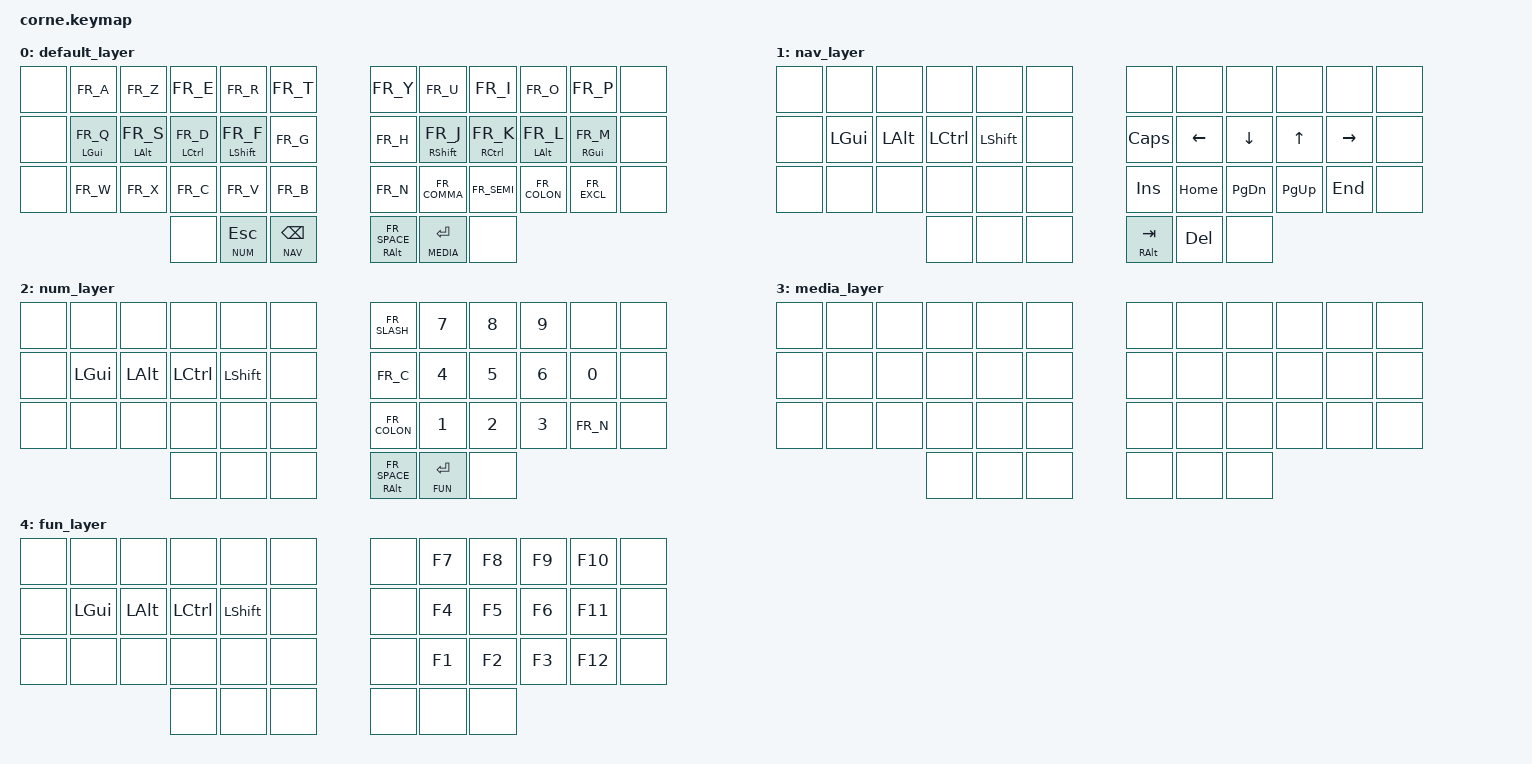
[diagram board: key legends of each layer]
#include <behaviors.dtsi>
#include <dt-bindings/zmk/keys.h>
#include <dt-bindings/zmk/bt.h>
#include <locale/keys_fr.h>

#include "zmk-helpers/helper.h"
#include "zmk-helpers/key-labels/42.h"

#define LEFT_HAND_KEYS  LT0 LT1 LT2 LT3 LT4 LM0 LM1 LM2 LM3 LM4 LB0 LB1 LB2 LB3 LB4
#define RIGHT_HAND_KEYS RT0 RT1 RT2 RT3 RT4 RM0 RM1 RM2 RM3 RM4 RB0 RB1 RB2 RB3 RB4
#define THUMBS_KEYS     LH2 LH1 LH0 RH0 RH1 RH2  
#define NAV   1
#define NUM   2
#define MEDIA 3
#define FUN   4
#define MOUSE 5

// TODO:
// Ergo-L diagram layout
// Fun layer: combo?
// Mouse layer: pinky?
// Copy/paste shortcuts

/ {
    behaviors {
        hml: home_row_mod_left {
            compatible = "zmk,behavior-hold-tap";
            #binding-cells = <2>;
            flavor = "balanced";
            require-prior-idle-ms = <150>;
            tapping-term-ms = <280>;
            quick-tap-ms = <175>;
            bindings = <&kp>, <&kp>;
            hold-trigger-key-positions = <RIGHT_HAND_KEYS THUMBS_KEYS>;
            hold-trigger-on-release;
        };
        hmr: home_row_mod_right {
            compatible = "zmk,behavior-hold-tap";
            #binding-cells = <2>;
            flavor = "balanced";
            require-prior-idle-ms = <150>;
            tapping-term-ms = <280>;
            quick-tap-ms = <175>;
            bindings = <&kp>, <&kp>;
            hold-trigger-key-positions = <LEFT_HAND_KEYS THUMBS_KEYS>;
            hold-trigger-on-release;
        };
    };
};

/ {
	keymap {
		compatible = "zmk,keymap";
		
		default_layer {
			bindings = <
    &none            &kp FR_A         &kp FR_Z         &kp FR_E         &kp FR_R         &kp FR_T         &kp FR_Y          &kp FR_U         &kp FR_I         &kp FR_O         &kp FR_P         &none
	&none            &hml LGUI FR_Q   &hml LALT FR_S   &hml LCTRL FR_D  &hml LSHIFT FR_F &kp FR_G         &kp FR_H          &hmr RSHIFT FR_J &hmr RCTRL FR_K  &hmr LALT FR_L   &hmr RGUI FR_M   &none
    &none            &kp FR_W         &kp FR_X         &kp FR_C         &kp FR_V         &kp FR_B         &kp FR_N          &kp FR_COMMA     &kp FR_SEMI      &kp FR_COLON     &kp FR_EXCL      &none
			                                           &none            &lt NUM ESC      &lt NAV BSPC     &mt RALT FR_SPACE &lt MEDIA ENTER  &none
			>;
		};
		nav_layer {
			bindings = <
	&none            &none            &none            &none            &none            &none            &none             &none            &none            &none            &none            &none
    &none            &kp LGUI         &kp LALT         &kp LCTRL        &kp LSHIFT       &none            &kp CAPSLOCK      &kp LEFT         &kp DOWN         &kp UP           &kp RIGHT        &none 
    &none            &none            &none            &none            &none            &none            &kp INSERT        &kp HOME         &kp PAGE_DOWN    &kp PAGE_UP      &kp END          &none 
			                                           &none            &none            &none            &mt RALT TAB      &kp DEL          &none
			>;
		};
		num_layer {
			bindings = <
    &none            &none            &none            &none            &none            &none            &kp FR_SLASH      &kp N7           &kp N8           &kp N9           &none            &none
 	&none            &kp LGUI         &kp LALT         &kp LCTRL        &kp LSHIFT       &none            &kp FR_C          &kp N4           &kp N5           &kp N6           &kp N0           &none 
    &none            &none            &none            &none            &none            &none            &kp FR_COLON      &kp N1           &kp N2           &kp N3           &kp FR_N         &none 
	                                                   &none            &none            &none            &mt RALT FR_SPACE &lt FUN ENTER    &none
			>;
		};
		media_layer {
			bindings = <
	&none            &none            &none            &none            &none            &none            &none             &none            &none            &none            &none            &none
	&none            &none            &none            &none            &none            &none            &none             &none            &none            &none            &none            &none
	&none            &none            &none            &none            &none            &none            &none             &none            &none            &none            &none            &none
			                                           &none            &none            &none            &none             &none            &none
			>;
		};
		fun_layer {
			bindings = <
    &none            &none            &none            &none            &none            &none            &none             &kp F7           &kp F8           &kp F9           &kp F10          &none
    &none            &kp LGUI         &kp LALT         &kp LCTRL        &kp LSHIFT       &none            &none             &kp F4           &kp F5           &kp F6           &kp F11          &none 
    &none            &none            &none            &none            &none            &none            &none             &kp F1           &kp F2           &kp F3           &kp F12          &none 
	                                                   &none            &none            &none            &none             &none            &none
			>;
		};
	};
};

/ {
    combos {
        compatible = "zmk,combos";
        combo_caps_word {
            timeout-ms = <50>;
            key-positions = <LM1 RM1>;
            bindings = <&caps_word>;
            require-prior-idle-ms = <150>;
            // FIXME: m capted as ; (US) so stoping caps word
            // FIXME: symbols for keyboard stop caps word despite being letters on Ergo-L
        };
        combo_caps_lock {
            timeout-ms = <50>;
            key-positions = <LM2 RM2>;
            bindings = <&kp CAPSLOCK>;
            require-prior-idle-ms = <150>;
        };
    };
};
